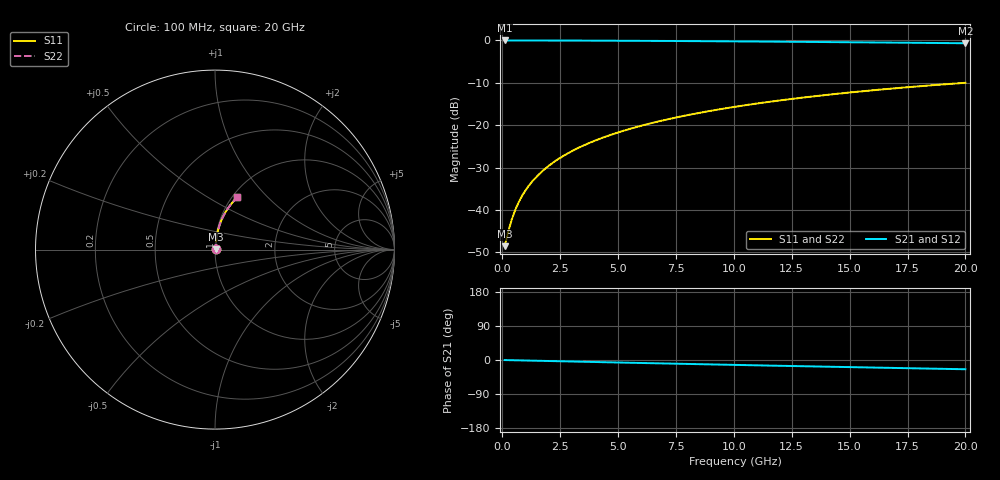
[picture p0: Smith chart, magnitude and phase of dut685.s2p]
! Touchstone file exported from HFSS 2024.1.0
!  File:  C:/UserFiles/LocalFiles/RDL_TSV_Batchsim/temp_RDL_bottom_685_1779786770.aedt
!  Generated:  05:15:48 PM May 26, 2026
!  Design:  RDL_bottom
!  Project:  temp_RDL_bottom_685_1779786770
!  Setup:  Setup1
!  Solution:  Sweep
! Variables:
!  dtsv = 10.80580581um
!  hbump = 3um
!  htsv = 60.95um
!  ldown = 268.67um
!  lrdl = 100um
!  p = 40
!  p1 = 46.36um
!  rhole = 1um
!  t = 450um
!  tdown = 2.64um
!  trdl = 3.915915916um
!  wdown = 11.39um
!  wrdl = 20um
# GHz S MA R 50.000000
! Terminal data exported
! Port[1] = RDL1_T1
! Port[2] = RDL1_T2
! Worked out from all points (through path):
!   200 points, 100 MHz to 20 GHz, reference 50 ohm
!   highest |S21| = -0.03 dB at 100 MHz (marker M1); lowest = -0.7 dB at 20 GHz (marker M2)
!   group delay of S21, straight-line fit = 3.39 ps
!   lowest |S11| = -48.5 dB at 100 MHz (marker M3), VSWR 1.01, Z = 50.3 + j0.17 ohm
!   |S11| at or under -10 dB: start of sweep to end of sweep
!   |S22| runs from -48.5 to -10.0 dB; largest |S21 - S12| = 5.4e-15
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0.1  0.003745 26.8  0.9967 -0.1  0.9967 -0.1  0.003745 26.8
! Gamma 0 0 0 0
! Port Impedance 50 0 50 0
0.3  0.006103 55.9  0.9966 -0.4  0.9966 -0.4  0.006103 55.9
0.4  0.007566 62.6  0.9965 -0.5  0.9965 -0.5  0.007566 62.6
0.5  0.009092 67.0  0.9964 -0.7  0.9964 -0.7  0.009092 67.0
0.6  0.01065 70.1  0.9964 -0.8  0.9964 -0.8  0.01065 70.1
0.7  0.01222 72.4  0.9963 -1.0  0.9963 -1.0  0.01222 72.4
0.9  0.01539 75.5  0.9961 -1.2  0.9961 -1.2  0.01539 75.5
1.2  0.02018 78.3  0.9959 -1.6  0.9959 -1.6  0.02018 78.3
1.4  0.02339 79.4  0.9957 -1.9  0.9957 -1.9  0.02339 79.4
1.7  0.02822 80.6  0.9954 -2.3  0.9954 -2.3  0.02822 80.6
2.2  0.03631 81.8  0.9948 -3.0  0.9948 -3.0  0.03631 81.8
2.8  0.04605 82.4  0.9939 -3.7  0.9939 -3.7  0.04605 82.4
3.5  0.05747 82.7  0.9927 -4.7  0.9927 -4.7  0.05747 82.7
4.2  0.06892 82.6  0.9912 -5.6  0.9912 -5.6  0.06892 82.6
5  0.08203 82.2  0.9893 -6.6  0.9893 -6.6  0.08203 82.2
5.9  0.09681 81.7  0.9868 -7.8  0.9868 -7.8  0.09681 81.7
6.8  0.1116 81.0  0.9841 -8.9  0.9841 -8.9  0.1116 81.0
8.3  0.1362 79.6  0.979 -10.8  0.979 -10.8  0.1362 79.6
10.1  0.1655 77.8  0.972 -13.0  0.972 -13.0  0.1655 77.8
13.4  0.218 74.2  0.9575 -17.0  0.9575 -17.0  0.218 74.2
16.7  0.2683 70.6  0.9413 -20.8  0.9413 -20.8  0.2683 70.6
20  0.3158 66.9  0.9237 -24.4  0.9237 -24.4  0.3158 66.9
